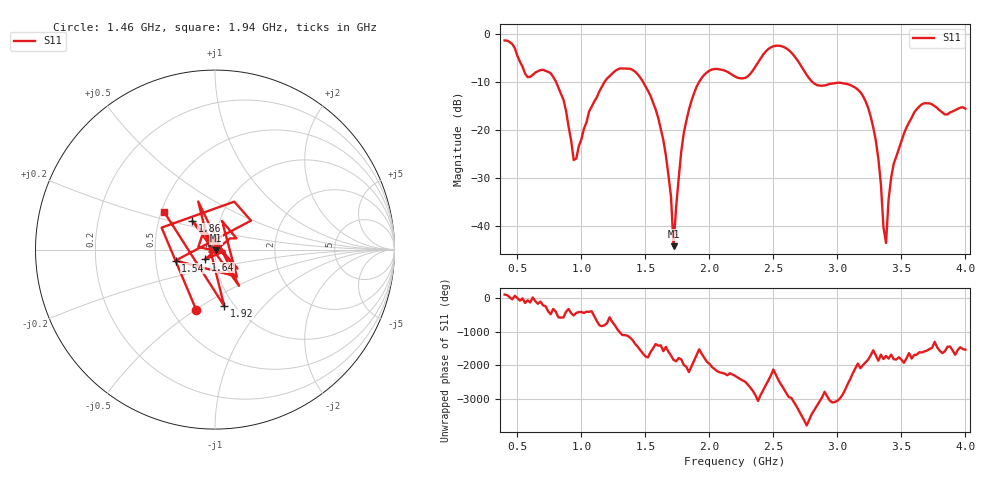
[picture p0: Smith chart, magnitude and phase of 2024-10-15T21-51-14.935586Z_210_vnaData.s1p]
! Created with skrf (http://scikit-rf.org).
# Hz S RI R 50.0
!freq ReS11 ImS11
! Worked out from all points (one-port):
!   181 points, 400 MHz to 4 GHz, reference 50 ohm
!   lowest |S11| = -44.1 dB at 1.72 GHz (marker M1), VSWR 1.01, Z = 50.5 - j0.374 ohm
!   |S11| at or under -10 dB: 802.7 MHz to 1.18 GHz (377 MHz wide, 38 % of centre); 1.483 GHz to 1.918 GHz (435.4 MHz wide, 25.6 % of centre); 2.807 GHz to end of sweep
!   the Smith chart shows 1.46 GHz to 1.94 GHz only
!   S11 on the Smith chart (normalised r, x): 1.46 GHz: 0.66, -0.51; 1.54 GHz: 0.64, -0.08; 1.64 GHz: 0.89, -0.10; 1.86 GHz: 0.74, +0.25; 1.92 GHz: 0.90, -0.63; 1.94 GHz: 0.52, +0.25
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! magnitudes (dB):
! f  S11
! 400 MHz  -1.3
! 860 MHz  -13.7
! 940 MHz  -26.2
! 1.06 GHz  -16.1
! 1.3 GHz  -7.1
! 1.46 GHz  -9.0
! 1.54 GHz  -12.8
! 1.64 GHz  -22.1
! 1.7 GHz  -33.8
! 1.72 GHz  -44.1
! 1.76 GHz  -30.0
! 1.8 GHz  -20.6
! 1.86 GHz  -13.9
! 1.92 GHz  -9.9
! 1.94 GHz  -9.1
! 2.2 GHz  -8.8
! 2.5 GHz  -2.5
! 2.66 GHz  -4.5
! 2.84 GHz  -10.6
! 3.1 GHz  -10.6
! 3.28 GHz  -19.4
! 3.32 GHz  -25.9
! 3.38 GHz  -43.5
! 3.4 GHz  -34.4
! 3.44 GHz  -27.0
! 3.56 GHz  -18.4
! 3.68 GHz  -14.4
! 4 GHz  -15.5
